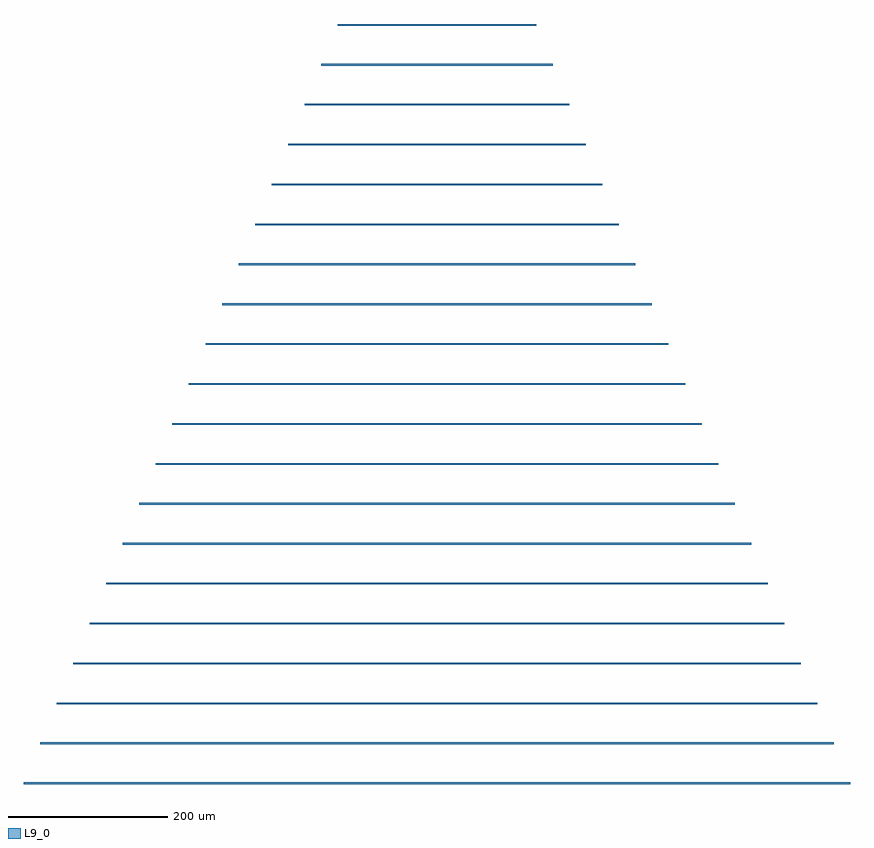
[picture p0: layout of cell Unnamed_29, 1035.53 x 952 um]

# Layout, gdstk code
import gdstk
lib = gdstk.Library(unit=1e-6, precision=1e-09)
def R(c, l, rs):  # rectangles x0, y0, x1, y1
    for r in rs: c.add(gdstk.rectangle(r[:2], r[2:], *l))
L9_0 = (9, 0)

unnamed_47 = lib.new_cell('Unnamed_47')
R(unnamed_47, L9_0, [(0,-1,952.691,1)])

unnamed_46 = lib.new_cell('Unnamed_46')
R(unnamed_46, L9_0, [(0,-1,911.27,1)])

unnamed_45 = lib.new_cell('Unnamed_45')
R(unnamed_45, L9_0, [(0,-1,869.848,1)])

unnamed_44 = lib.new_cell('Unnamed_44')
R(unnamed_44, L9_0, [(0,-1,828.427,1)])

unnamed_43 = lib.new_cell('Unnamed_43')
R(unnamed_43, L9_0, [(0,-1,787.006,1)])

unnamed_42 = lib.new_cell('Unnamed_42')
R(unnamed_42, L9_0, [(0,-1,745.584,1)])

unnamed_30 = lib.new_cell('Unnamed_30')
R(unnamed_30, L9_0, [(0,-1,248.528,1)])

unnamed_40 = lib.new_cell('Unnamed_40')
R(unnamed_40, L9_0, [(0,-1,662.742,1)])

unnamed_49 = lib.new_cell('Unnamed_49')
R(unnamed_49, L9_0, [(0,-1,1035.534,1)])

unnamed_39 = lib.new_cell('Unnamed_39')
R(unnamed_39, L9_0, [(0,-1,621.32,1)])

unnamed_48 = lib.new_cell('Unnamed_48')
R(unnamed_48, L9_0, [(0,-1,994.113,1)])

unnamed_38 = lib.new_cell('Unnamed_38')
R(unnamed_38, L9_0, [(0,-1,579.899,1)])

unnamed_37 = lib.new_cell('Unnamed_37')
R(unnamed_37, L9_0, [(0,-1,538.478,1)])

unnamed_36 = lib.new_cell('Unnamed_36')
R(unnamed_36, L9_0, [(0,-1,497.056,1)])

unnamed_35 = lib.new_cell('Unnamed_35')
R(unnamed_35, L9_0, [(0,-1,455.635,1)])

unnamed_41 = lib.new_cell('Unnamed_41')
R(unnamed_41, L9_0, [(0,-1,704.163,1)])

unnamed_31 = lib.new_cell('Unnamed_31')
R(unnamed_31, L9_0, [(0,-1,289.949,1)])

unnamed_33 = lib.new_cell('Unnamed_33')
R(unnamed_33, L9_0, [(0,-1,372.792,1)])

unnamed_32 = lib.new_cell('Unnamed_32')
R(unnamed_32, L9_0, [(0,-1,331.371,1)])

unnamed_34 = lib.new_cell('Unnamed_34')
R(unnamed_34, L9_0, [(0,-1,414.214,1)])

unnamed_29 = lib.new_cell('Unnamed_29')
unnamed_29.add(gdstk.Reference(unnamed_47, (-476.346,-1150)))
unnamed_29.add(gdstk.Reference(unnamed_46, (-455.635,-1100)))
unnamed_29.add(gdstk.Reference(unnamed_45, (-434.924,-1050)))
unnamed_29.add(gdstk.Reference(unnamed_44, (-414.214,-1000)))
unnamed_29.add(gdstk.Reference(unnamed_43, (-393.503,-950)))
unnamed_29.add(gdstk.Reference(unnamed_42, (-372.792,-900)))
unnamed_29.add(gdstk.Reference(unnamed_30, (-124.264,-300)))
unnamed_29.add(gdstk.Reference(unnamed_40, (-331.371,-800)))
unnamed_29.add(gdstk.Reference(unnamed_49, (-517.767,-1250)))
unnamed_29.add(gdstk.Reference(unnamed_39, (-310.66,-750)))
unnamed_29.add(gdstk.Reference(unnamed_48, (-497.056,-1200)))
unnamed_29.add(gdstk.Reference(unnamed_38, (-289.949,-700)))
unnamed_29.add(gdstk.Reference(unnamed_37, (-269.239,-650)))
unnamed_29.add(gdstk.Reference(unnamed_36, (-248.528,-600)))
unnamed_29.add(gdstk.Reference(unnamed_35, (-227.817,-550)))
unnamed_29.add(gdstk.Reference(unnamed_41, (-352.082,-850)))
unnamed_29.add(gdstk.Reference(unnamed_31, (-144.975,-350)))
unnamed_29.add(gdstk.Reference(unnamed_33, (-186.396,-450)))
unnamed_29.add(gdstk.Reference(unnamed_32, (-165.685,-400)))
unnamed_29.add(gdstk.Reference(unnamed_34, (-207.107,-500)))

lib.write_gds('Unnamed_29.gds')
